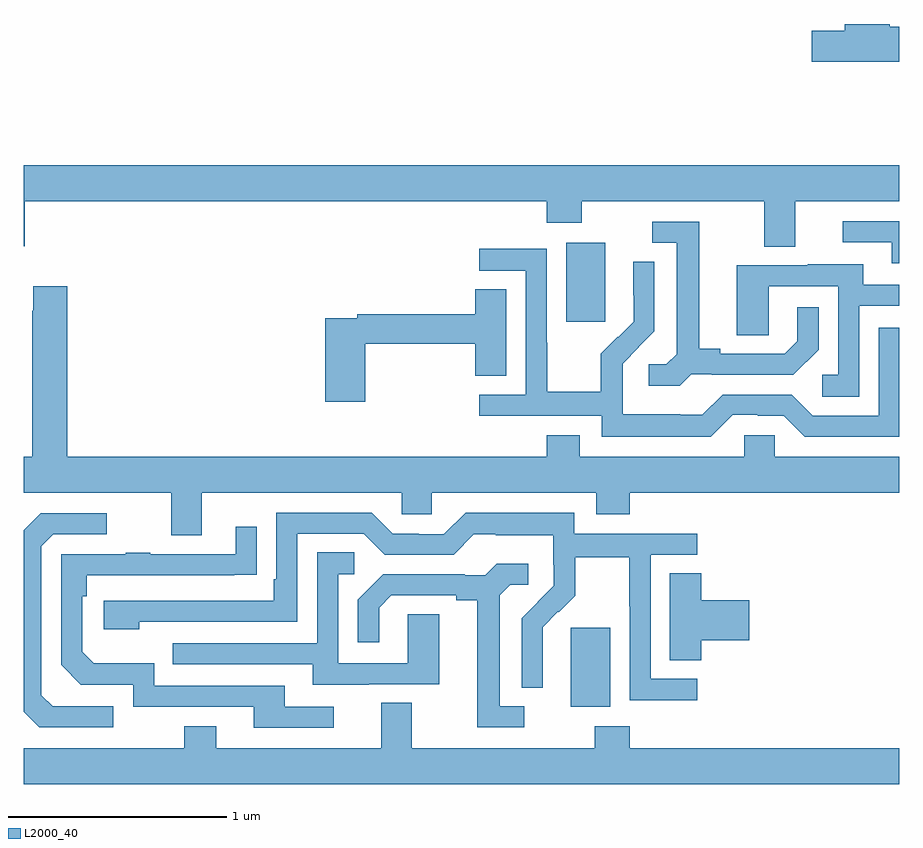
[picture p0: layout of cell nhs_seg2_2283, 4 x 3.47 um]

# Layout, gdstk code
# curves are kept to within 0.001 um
import gdstk
lib = gdstk.Library(unit=1e-6, precision=1e-09)
def R(c, l, rs):  # rectangles x0, y0, x1, y1
    for r in rs: c.add(gdstk.rectangle(r[:2], r[2:], *l))
def P(c, l, *ps):  # polygons
    for p in ps: c.add(gdstk.Polygon(p, *l))
L2000_40 = (2000, 40)

nhs_seg2_2283 = lib.new_cell('nhs_seg2_2283')
R(nhs_seg2_2283, L2000_40, [(231.5,662.642,231.679,663.003), (231.479,664.401,231.658,664.762)])
P(nhs_seg2_2283, L2000_40, [(233,665.749),(232.958,665.749),(232.958,665.762),(232.751,665.762),(232.751,665.732),(232.602,665.732),(232.602,665.59),(233,665.59)],
  [(232.525,664.952),(233,664.952),(233,665.116),(229,665.116),(229,664.747),(229.004,664.747),(229.004,664.952),(231.389,664.952),(231.389,664.853),(231.549,664.853),(231.549,664.952),(232.385,664.952),(232.385,664.744),(232.525,664.744)],
  [(233,664.86),(232.743,664.86),(232.743,664.764),(232.967,664.764),(232.967,664.668),(233,664.668)],
  [(232.05,664.161),(232.144,664.161),(232.144,664.158),(232.516,664.158),(232.632,664.274),(232.632,664.468),(232.535,664.468),(232.535,664.311),(232.478,664.254),(232.183,664.254),(232.183,664.277),(232.087,664.277),(232.087,664.857),(231.873,664.857),(231.873,664.761),(231.983,664.761),(231.983,664.253),(231.936,664.206),(231.855,664.206),(231.855,664.109),(231.998,664.109)],
  [(232.239,663.975),(232.355,663.975),(232.355,663.972),(232.473,663.972),(232.569,663.876),(233,663.876),(233,664.374),(232.908,664.374),(232.908,663.972),(232.605,663.972),(232.509,664.068),(232.194,664.068),(232.101,663.975),(232.001,663.975),(232.001,663.979),(231.738,663.979),(231.738,664.113),(231.736,664.113),(231.736,664.21),(231.882,664.358),(231.882,664.676),(231.786,664.676),(231.786,664.522),(231.788,664.522),(231.788,664.4),(231.717,664.329),(231.714,664.332),(231.637,664.255),(231.637,664.081),(231.393,664.081),(231.393,664.304),(231.39,664.304),(231.39,664.734),(231.081,664.734),(231.081,664.635),(231.294,664.635),(231.294,664.068),(231.081,664.068),(231.081,663.972),(231.642,663.972),(231.642,663.875),(232.139,663.875)],
  [(232.818,664.473),(233,664.473),(233,664.569),(232.837,664.569),(232.837,664.663),(232.583,664.663),(232.583,664.659),(232.259,664.659),(232.259,664.339),(232.404,664.339),(232.404,664.563),(232.722,664.563),(232.722,664.158),(232.65,664.158),(232.65,664.057),(232.818,664.057)],
  [(229.813,663.62),(230.727,663.62),(230.727,663.522),(230.865,663.522),(230.865,663.62),(231.617,663.62),(231.617,663.521),(231.77,663.521),(231.77,663.62),(233,663.62),(233,663.784),(232.431,663.784),(232.431,663.882),(232.293,663.882),(232.293,663.784),(231.541,663.784),(231.541,663.883),(231.389,663.883),(231.389,663.784),(229.199,663.784),(229.199,664.564),(229.043,664.564),(229.043,664.451),(229.039,664.451),(229.039,663.784),(229,663.784),(229,663.62),(229.673,663.62),(229.673,663.426),(229.813,663.426)],
  [(230.561,664.3),(231.062,664.3),(231.062,664.153),(231.205,664.153),(231.205,664.55),(231.062,664.55),(231.062,664.436),(230.524,664.436),(230.524,664.416),(230.378,664.416),(230.378,664.035),(230.561,664.035)],
  [(232.078,662.769),(231.864,662.769),(231.864,663.336),(232.078,663.336),(232.078,663.432),(231.516,663.432),(231.516,663.529),(231.019,663.529),(230.919,663.429),(230.804,663.429),(230.804,663.432),(230.685,663.432),(230.589,663.528),(230.154,663.528),(230.154,663.223),(230.141,663.223),(230.141,663.126),(229.365,663.126),(229.365,662.996),(229.526,662.996),(229.526,663.03),(230.25,663.03),(230.25,663.432),(230.553,663.432),(230.649,663.336),(230.964,663.336),(231.057,663.429),(231.157,663.429),(231.157,663.425),(231.42,663.425),(231.42,663.291),(231.422,663.291),(231.422,663.194),(231.276,663.046),(231.276,662.728),(231.372,662.728),(231.371,663.005),(231.441,663.075),(231.444,663.072),(231.521,663.149),(231.521,663.324),(231.766,663.324),(231.766,663.1),(231.768,663.1),(231.768,662.671),(232.078,662.671)],
  [(229.408,662.643),(229.131,662.643),(229.08,662.694),(229.08,663.375),(229.134,663.429),(229.378,663.429),(229.378,663.525),(229.077,663.525),(229,663.447),(229,662.618),(229.071,662.547),(229.408,662.547)],
  [(230.416,662.64),(230.191,662.64),(230.191,662.736),(229.596,662.736),(229.596,662.839),(229.319,662.839),(229.266,662.892),(229.266,663.146),(229.286,663.146),(229.286,663.243),(230.063,663.244),(230.063,663.463),(229.967,663.463),(229.967,663.339),(229.577,663.339),(229.577,663.344),(229.465,663.344),(229.465,663.339),(229.17,663.339),(229.17,662.832),(229.26,662.742),(229.5,662.742),(229.5,662.64),(230.051,662.64),(230.051,662.544),(230.416,662.544)],
  [(230.575,662.745),(230.899,662.745),(230.899,663.065),(230.754,663.065),(230.754,662.841),(230.436,662.841),(230.436,663.246),(230.509,663.246),(230.509,663.347),(230.34,663.347),(230.34,662.931),(229.681,662.931),(229.681,662.835),(230.321,662.835),(230.321,662.741),(230.575,662.741)],
  [(231.286,662.643),(231.175,662.643),(231.175,663.151),(231.222,663.198),(231.304,663.198),(231.304,663.295),(231.16,663.295),(231.108,663.243),(231.014,663.243),(231.014,663.246),(230.642,663.246),(230.526,663.13),(230.526,662.937),(230.623,662.937),(230.623,663.093),(230.68,663.15),(230.975,663.15),(230.975,663.128),(231.071,663.128),(231.071,662.547),(231.286,662.547)],
  [(232.097,662.945),(232.315,662.945),(232.315,663.128),(232.097,663.128),(232.097,663.251),(231.953,663.251),(231.953,662.854),(232.097,662.854)],
  [(233,662.452),(231.77,662.452),(231.77,662.551),(231.61,662.551),(231.61,662.452),(230.773,662.452),(230.773,662.66),(230.633,662.66),(230.633,662.452),(229.879,662.452),(229.879,662.551),(229.732,662.551),(229.732,662.452),(229,662.452),(229,662.288),(233,662.288)])

lib.write_gds('nhs_seg2_2283.gds')
